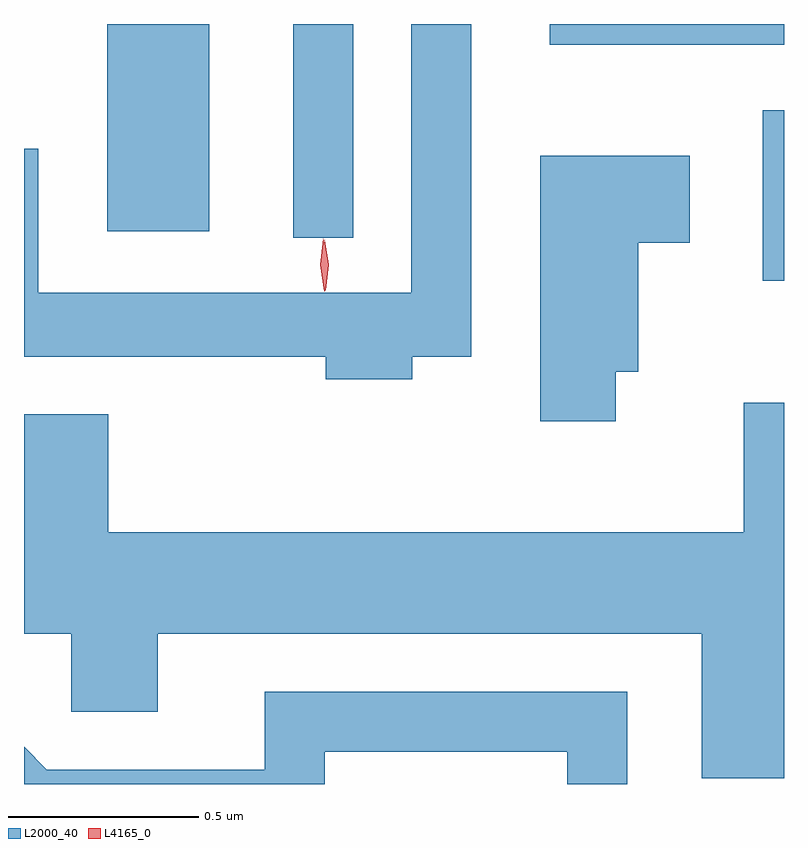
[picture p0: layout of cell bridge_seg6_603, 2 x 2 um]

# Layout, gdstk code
import gdstk
lib = gdstk.Library(unit=1e-6, precision=1e-09)
def R(c, l, rs):  # rectangles x0, y0, x1, y1
    for r in rs: c.add(gdstk.rectangle(r[:2], r[2:], *l))
def P(c, l, *ps):  # polygons
    for p in ps: c.add(gdstk.Polygon(p, *l))
L2000_40 = (2000, 40)
L4165_0 = (4165, 0)

bridge_seg6_603 = lib.new_cell('bridge_seg6_603')
R(bridge_seg6_603, L2000_40, [(503.371,1637.546,503.427,1637.994), (502.136,1637.658,502.294,1638.221), (501.646,1637.676,501.914,1638.221), (502.811,1638.166,503.427,1638.221)])
P(bridge_seg6_603, L2000_40, [(502.449,1637.346),(502.604,1637.346),(502.604,1638.221),(502.446,1638.221),(502.446,1637.514),(501.464,1637.514),(501.464,1637.893),(501.427,1637.893),(501.427,1637.346),(502.221,1637.346),(502.221,1637.286),(502.449,1637.286)],
  [(502.984,1637.306),(503.044,1637.306),(503.044,1637.646),(503.179,1637.646),(503.179,1637.874),(502.786,1637.874),(502.786,1637.176),(502.984,1637.176)],
  [(503.427,1637.224),(503.321,1637.224),(503.321,1636.884),(501.649,1636.884),(501.649,1637.194),(501.427,1637.194),(501.427,1636.616),(501.551,1636.616),(501.551,1636.411),(501.779,1636.411),(501.779,1636.616),(503.211,1636.616),(503.211,1636.236),(503.427,1636.236)],
  [(502.219,1636.306),(502.856,1636.306),(502.856,1636.221),(503.014,1636.221),(503.014,1636.464),(502.061,1636.464),(502.061,1636.259),(501.487,1636.259),(501.427,1636.319),(501.427,1636.221),(502.219,1636.221)])
P(bridge_seg6_603, L4165_0, [(502.22,1637.52),(502.22,1637.521),(502.209,1637.586),(502.218,1637.652),(502.218,1637.653),(502.219,1637.652),(502.229,1637.587),(502.221,1637.521)],
  [(502.217,1637.518),(502.217,1637.518),(502.206,1637.587),(502.214,1637.656),(502.215,1637.656),(502.215,1637.656),(502.226,1637.587),(502.218,1637.518)])

lib.write_gds('bridge_seg6_603.gds')
